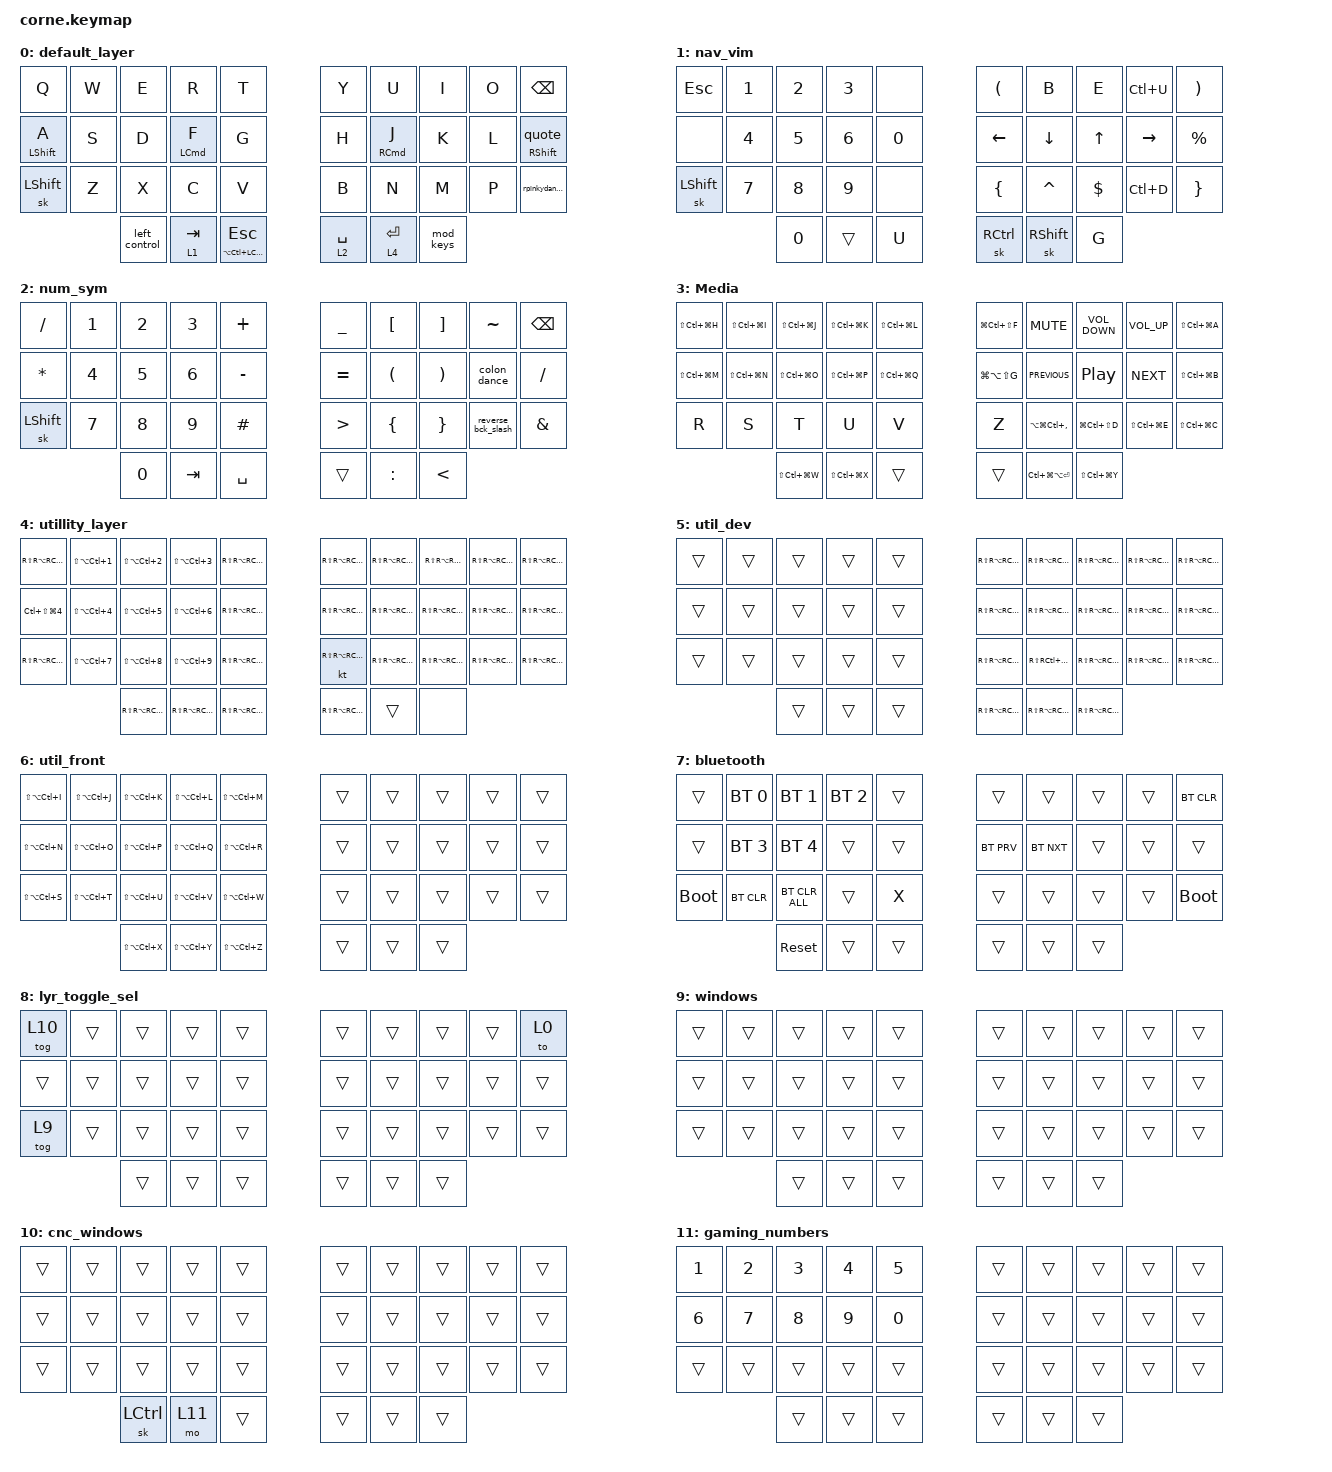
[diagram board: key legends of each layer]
/*
 * Copyright (c) 2020 The ZMK Contributors
 *
 * SPDX-License-Identifier: MIT
 */

#include <behaviors.dtsi>
#include <dt-bindings/zmk/bt.h>
#include <dt-bindings/zmk/keys.h>
#include <dt-bindings/zmk/keys.h>

/ {
    chosen { zmk,matrix_transform = &five_column_transform; };

    behaviors {
        r_pinky_dance: r_pinky_dance {
            compatible = "zmk,behavior-tap-dance";
            label = "R_PINKY_DANCE";
            #binding-cells = <0>;
            bindings = <&kp PERIOD>, <&kp QUESTION>, <&kp EXCLAMATION>;

            tapping-term-ms = <300>;
        };

        rpinkydancemod: rpinkydancemod {
            compatible = "zmk,behavior-mod-morph";
            label = "RPINKYDANCEMOD";
            bindings = <&r_pinky_dance>, <&kp COMMA>;

            #binding-cells = <0>;
            mods = <(MOD_RALT)>;
        };

        colon_dance: colon_dance {
            compatible = "zmk,behavior-tap-dance";
            label = "COLON_DANCE";
            #binding-cells = <0>;
            bindings = <&kp COLON>, <&kp SEMICOLON>;
        };

        mod_keys: mod_keys {
            compatible = "zmk,behavior-tap-dance";
            label = "MOD_KEYS";
            #binding-cells = <0>;
            bindings = <&sk RIGHT_ALT>, <&sk RIGHT_CONTROL>;
        };

        right_mod_cmd: right_mod_cmd {
            compatible = "zmk,behavior-hold-tap";
            label = "RIGHT_MOD_CMD";
            bindings = <&sk>, <&kp>;

            #binding-cells = <2>;
            tapping-term-ms = <200>;
            flavor = "tap-preferred";
            hold-trigger-key-positions = <17 4 14 24 32 31 23 13 3 2 12 22 21 11 1 0 10 20 30 33 34>;
        };

        left_mod_command: left_mod_command {
            compatible = "zmk,behavior-hold-tap";
            label = "LEFT_MOD_COMMAND";
            bindings = <&sk>, <&kp>;

            #binding-cells = <2>;
            tapping-term-ms = <200>;
            flavor = "tap-preferred";
            hold-trigger-key-positions = <5 33 34 25 15 16 26 6 7 17 27 28 18 8 9 19 29 35 31>;
        };

        right_thumb_tapdance: right_thumb_tapdance {
            compatible = "zmk,behavior-tap-dance";
            label = "RIGHT_THUMB_TAPDANCE";
            #binding-cells = <0>;
            bindings = <&lt 2 SPACE>, <&mo 0>;
        };

        escape: escape {
            compatible = "zmk,behavior-hold-tap";
            label = "ESCAPE";
            bindings = <&kp>, <&kp>;

            #binding-cells = <2>;
            flavor = "tap-preferred";
            tapping-term-ms = <200>;
        };

        enter: enter {
            compatible = "zmk,behavior-hold-tap";
            label = "ENTER";
            bindings = <&mo>, <&kp>;

            #binding-cells = <2>;
            tapping-term-ms = <200>;
            flavor = "balanced";
        };

        quote: quote {
            compatible = "zmk,behavior-tap-dance";
            label = "QUOTE";
            #binding-cells = <0>;
            bindings = <&kp SQT>, <&kp GRAVE>, <&triple_grave>;

            tapping-term-ms = <300>;
        };

        left_control: left_control {
            compatible = "zmk,behavior-tap-dance";
            label = "LEFT_CONTROL";
            #binding-cells = <0>;
            bindings = <&sk RIGHT_CONTROL>, <&sk LEFT_ALT>;
        };

        reverse_bck_slash: reverse_bck_slash {
            compatible = "zmk,behavior-mod-morph";
            label = "REVERSE_BCK_SLASH";
            bindings = <&kp PIPE>, <&kp BACKSLASH>;

            #binding-cells = <0>;
            mods = <(MOD_LSFT)>;
        };

        right_shift_hrm: right_shift_hrm {
            compatible = "zmk,behavior-hold-tap";
            label = "RIGHT_SHIFT_HRM";
            bindings = <&sk>, <&quote>;

            #binding-cells = <2>;
            tapping-term-ms = <200>;
            flavor = "tap-preferred";
            hold-trigger-key-positions = <4 14 24 23 13 3 2 12 22 21 11 1 0 10 20>;
        };

        left_shift_hrm: left_shift_hrm {
            compatible = "zmk,behavior-hold-tap";
            label = "LEFT_SHIFT_HRM";
            bindings = <&sk>, <&kp>;

            #binding-cells = <2>;
            tapping-term-ms = <200>;
            flavor = "tap-preferred";
            hold-trigger-key-positions = <5 15 25 26 16 6 7 17 27 28 18 8 9 19 29>;
        };

        shift_tap: shift_tap {
            compatible = "zmk,behavior-tap-dance";
            label = "SHIFT_TAP";
            #binding-cells = <0>;
            bindings = <&sk LEFT_SHIFT>, <&kt LEFT_SHIFT>;
        };
    };

    combos {
        compatible = "zmk,combos";

        bluetooth {
            bindings = <&mo 7>;
            key-positions = <30 35>;
            layers = <0>;
        };

        media {
            bindings = <&mo 3>;
            key-positions = <32 33>;
        };

        layer_toggle_layer {
            bindings = <&mo 8>;
            key-positions = <31 34>;
        };

        at {
            bindings = <&kp AT_SIGN>;
            key-positions = <10 19>;
        };

        dollar {
            bindings = <&kp DOLLAR>;
            key-positions = <20 29>;
        };

        dev_utils {
            bindings = <&mo 5>;
            key-positions = <30 31>;
        };

        design_util {
            bindings = <&mo 6>;
            key-positions = <34 35>;
        };
    };

    macros {
        triple_grave: triple_grave {
            compatible = "zmk,behavior-macro";
            #binding-cells = <0>;
            bindings = <&kp GRAVE &kp GRAVE &kp GRAVE>;
            label = "TRIPLE_GRAVE";
        };
    };

    keymap {
        compatible = "zmk,keymap";

        default_layer {
            // -----------------------------------------------------------------------------------------
            // |  TAB |  Q  |  W  |  E  |  R  |  T  |   |  Y  |  U   |  I  |  O  |  P  | BKSP |
            // | CTRL |  A  |  S  |  D  |  F  |  G  |   |  H  |  J   |  K  |  L  |  ;  |  '   |
            // | SHFT |  Z  |  X  |  C  |  V  |  B  |   |  N  |  M   |  ,  |  .  |  /  | ESC  |
            //                    | GUI | LWR | SPC |   | ENT | RSE  | ALT |

            bindings = <
  &kp Q                         &kp W  &kp E          &kp R                             &kp T                                  &kp Y           &kp U                           &kp I      &kp O  &kp BACKSPACE
  &left_shift_hrm LEFT_SHIFT A  &kp S  &kp D          &left_mod_command LEFT_COMMAND F  &kp G                                  &kp H           &right_mod_cmd RIGHT_COMMAND J  &kp K      &kp L  &right_shift_hrm RIGHT_SHIFT 0
  &sk LEFT_SHIFT                &kp Z  &kp X          &kp C                             &kp V                                  &kp B           &kp N                           &kp M      &kp P  &rpinkydancemod
                                       &left_control  &lt 1 TAB                         &escape LA(LC(LEFT_COMMAND)) ESCAPE    &enter 2 SPACE  &lt 4 ENTER                     &mod_keys
            >;
        };

        nav_vim {
            // -----------------------------------------------------------------------------------------
            // |  TAB |  1  |  2  |  3  |  4  |  5  |   |  6  |  7  |  8  |  9  |  0  | BKSP |
            // | BTCLR| BT1 | BT2 | BT3 | BT4 | BT5 |   | LFT | DWN |  UP | RGT |     |      |
            // | SHFT |     |     |     |     |     |   |     |     |     |     |     |      |
            //                    | GUI |     | SPC |   | ENT |     | ALT |

            bindings = <
  &kp ESC         &kp N1  &kp N2  &kp N3  &none     &kp LEFT_PARENTHESIS  &kp B           &kp E         &kp LC(U)  &kp RIGHT_PARENTHESIS
  &none           &kp N4  &kp N5  &kp N6  &kp N0    &kp LEFT_ARROW        &kp DOWN_ARROW  &kp UP_ARROW  &kp RIGHT  &kp PERCENT
  &sk LEFT_SHIFT  &kp N7  &kp N8  &kp N9  &none     &kp LEFT_BRACE        &kp CARET       &kp DOLLAR    &kp LC(D)  &kp RIGHT_BRACE
                          &kp N0  &trans  &kp U     &sk RCTRL             &sk RSHFT       &kp G
            >;
        };

        num_sym {
            // -----------------------------------------------------------------------------------------
            // |  TAB |  !  |  @  |  #  |  $  |  %  |   |  ^  |  &  |  *  |  (  |  )  | BKSP |
            // | CTRL |     |     |     |     |     |   |  -  |  =  |  [  |  ]  |  \  |  `   |
            // | SHFT |     |     |     |     |     |   |  _  |  +  |  {  |  }  | "|" |  ~   |
            //                    | GUI |     | SPC |   | ENT |     | ALT |

            bindings = <
  &kp SLASH       &kp N1  &kp N2        &kp N3   &kp PLUS     &kp UNDERSCORE    &kp LEFT_BRACKET      &kp RIGHT_BRACKET      &kp TILDE           &kp BACKSPACE
  &kp ASTRK       &kp N4  &kp N5        &kp N6   &kp MINUS    &kp EQUAL         &kp LEFT_PARENTHESIS  &kp RIGHT_PARENTHESIS  &colon_dance        &kp SLASH
  &sk LEFT_SHIFT  &kp N7  &kp N8        &kp N9   &kp POUND    &kp GREATER_THAN  &kp LEFT_BRACE        &kp RIGHT_BRACE        &reverse_bck_slash  &kp AMPERSAND
                          &kp NUMBER_0  &kp TAB  &kp SPACE    &trans            &kp COLON             &kp LESS_THAN
            >;
        };

        Media {
            bindings = <
  &kp LS(LC(LG(H)))  &kp LS(LC(LG(I)))  &kp LS(LC(LG(J)))  &kp LS(LC(LG(K)))  &kp LS(LC(LG(L)))    &kp LG(LC(LS(F)))  &kp K_MUTE             &kp C_VOLUME_DOWN  &kp C_VOL_UP       &kp LS(LC(LG(A)))
  &kp LS(LC(LG(M)))  &kp LS(LC(LG(N)))  &kp LS(LC(LG(O)))  &kp LS(LC(LG(P)))  &kp LS(LC(LG(Q)))    &kp LG(LA(LS(G)))  &kp C_PREVIOUS         &kp C_PP           &kp C_NEXT         &kp LS(LC(LG(B)))
  &kp R              &kp S              &kp T              &kp U              &kp V                &kp Z              &kp LA(LG(LC(COMMA)))  &kp LG(LC(LS(D)))  &kp LS(LC(LG(E)))  &kp LS(LC(LG(C)))
                                        &kp LS(LC(LG(W)))  &kp LS(LC(LG(X)))  &trans               &trans             &kp LC(LG(LA(ENTER)))  &kp LS(LC(LG(Y)))
            >;
        };

        utillity_layer {
            bindings = <
  &kp RS(RA(RC(RG(P))))     &kp LS(LA(LC(NUMBER_1)))  &kp LS(LA(LC(NUMBER_2)))  &kp LS(LA(LC(NUMBER_3)))  &kp RS(RA(RC(RG(S))))    &kp RS(RA(RC(RG(A))))  &kp RS(RA(RC(RG(B))))  &kp RS(RA(RG(RC(C))))  &kp RS(RA(RC(RG(D))))  &kp RS(RA(RC(RG(E))))
  &kp LC(LS(LG(NUMBER_4)))  &kp LS(LA(LC(NUMBER_4)))  &kp LS(LA(LC(N5)))        &kp LS(LA(LC(NUMBER_6)))  &kp RS(RA(RC(RG(T))))    &kp RS(RA(RC(RG(F))))  &kp RS(RA(RC(RG(G))))  &kp RS(RA(RC(RG(H))))  &kp RS(RA(RC(RG(I))))  &kp RS(RA(RC(RG(J))))
  &kp RS(RA(RC(RG(R))))     &kp LS(LA(LC(N7)))        &kp LS(LA(LC(N8)))        &kp LS(LA(LC(N9)))        &kp RS(RA(RC(RG(U))))    &kt RS(RA(RC(RG(K))))  &kp RS(RA(RC(RG(L))))  &kp RS(RA(RC(RG(M))))  &kp RS(RA(RC(RG(N))))  &kp RS(RA(RC(RG(O))))
                                                      &kp RS(RA(RC(RG(V))))     &kp RS(RA(RC(RG(W))))     &kp RS(RA(RC(RG(X))))    &kp RS(RA(RC(RG(Y))))  &trans                 &none
            >;
        };

        util_dev {
            bindings = <
  &trans  &trans  &trans  &trans  &trans    &kp RS(RA(RC(RG(NUMBER_1))))  &kp RS(RA(RC(RG(NUMBER_2))))  &kp RS(RA(RC(RG(NUMBER_3))))  &kp RS(RA(RC(RG(NUMBER_4))))  &kp RS(RA(RC(RG(N5))))
  &trans  &trans  &trans  &trans  &trans    &kp RS(RA(RC(RG(NUMBER_6))))  &kp RS(RA(RC(RG(N7))))        &kp RS(RA(RC(RG(N8))))        &kp RS(RA(RC(RG(N9))))        &kp RS(RA(RC(RG(N0))))
  &trans  &trans  &trans  &trans  &trans    &kp RS(RA(RC(A)))             &kp RS(RC(RA(B)))             &kp RS(RA(RC(C)))             &kp RS(RA(RC(D)))             &kp RS(RA(RC(E)))
                  &trans  &trans  &trans    &kp RS(RA(RC(F)))             &kp RS(RA(RC(G)))             &kp RS(RA(RC(H)))
            >;
        };

        util_front {
            bindings = <
  &kp LS(LA(LC(I)))  &kp LS(LA(LC(J)))  &kp LS(LA(LC(K)))  &kp LS(LA(LC(L)))  &kp LS(LA(LC(M)))    &trans  &trans  &trans  &trans  &trans
  &kp LS(LA(LC(N)))  &kp LS(LA(LC(O)))  &kp LS(LA(LC(P)))  &kp LS(LA(LC(Q)))  &kp LS(LA(LC(R)))    &trans  &trans  &trans  &trans  &trans
  &kp LS(LA(LC(S)))  &kp LS(LA(LC(T)))  &kp LS(LA(LC(U)))  &kp LS(LA(LC(V)))  &kp LS(LA(LC(W)))    &trans  &trans  &trans  &trans  &trans
                                        &kp LS(LA(LC(X)))  &kp LS(LA(LC(Y)))  &kp LS(LA(LC(Z)))    &trans  &trans  &trans
            >;
        };

        bluetooth {
            bindings = <
  &trans       &bt BT_SEL 0  &bt BT_SEL 1    &bt BT_SEL 2  &trans    &trans      &trans      &trans  &trans  &bt BT_CLR
  &trans       &bt BT_SEL 3  &bt BT_SEL 4    &trans        &trans    &bt BT_PRV  &bt BT_NXT  &trans  &trans  &trans
  &bootloader  &bt BT_CLR    &bt BT_CLR_ALL  &trans        &kp X     &trans      &trans      &trans  &trans  &bootloader
                             &sys_reset      &trans        &trans    &trans      &trans      &trans
            >;
        };

        lyr_toggle_sel {
            bindings = <
  &tog 10  &trans  &trans  &trans  &trans    &trans  &trans  &trans  &trans  &to 0
  &trans   &trans  &trans  &trans  &trans    &trans  &trans  &trans  &trans  &trans
  &tog 9   &trans  &trans  &trans  &trans    &trans  &trans  &trans  &trans  &trans
                   &trans  &trans  &trans    &trans  &trans  &trans
            >;
        };

        windows {
            bindings = <
  &trans  &trans  &trans  &trans  &trans    &trans  &trans  &trans  &trans  &trans
  &trans  &trans  &trans  &trans  &trans    &trans  &trans  &trans  &trans  &trans
  &trans  &trans  &trans  &trans  &trans    &trans  &trans  &trans  &trans  &trans
                  &trans  &trans  &trans    &trans  &trans  &trans
            >;
        };

        cnc_windows {
            bindings = <
  &trans  &trans  &trans            &trans  &trans    &trans  &trans  &trans  &trans  &trans
  &trans  &trans  &trans            &trans  &trans    &trans  &trans  &trans  &trans  &trans
  &trans  &trans  &trans            &trans  &trans    &trans  &trans  &trans  &trans  &trans
                  &sk LEFT_CONTROL  &mo 11  &trans    &trans  &trans  &trans
            >;
        };

        gaming_numbers {
            bindings = <
  &kp N1  &kp N2  &kp N3  &kp N4  &kp N5    &trans  &trans  &trans  &trans  &trans
  &kp N6  &kp N7  &kp N8  &kp N9  &kp N0    &trans  &trans  &trans  &trans  &trans
  &trans  &trans  &trans  &trans  &trans    &trans  &trans  &trans  &trans  &trans
                  &trans  &trans  &trans    &trans  &trans  &trans
            >;
        };
    };

    conditional_layers { compatible = "zmk,conditional-layers"; };
};
